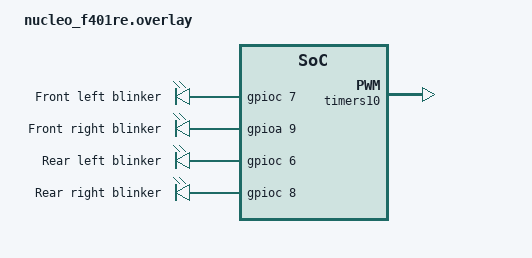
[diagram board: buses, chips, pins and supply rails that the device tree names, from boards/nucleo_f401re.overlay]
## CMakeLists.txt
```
cmake_minimum_required(VERSION 3.20.0)
find_package(Zephyr REQUIRED HINTS $ENV{ZEPHYR_BASE})
project(steering_blinker_app)

target_sources(app PRIVATE src/main.c)
```

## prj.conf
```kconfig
CONFIG_PWM=y
CONFIG_GPIO=y
CONFIG_SERIAL=y
CONFIG_FPU=y
```

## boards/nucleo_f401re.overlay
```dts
/*
 * steering_blinker_app - Nucleo-F401RE
 *
 * Servo:    TIM10_CH1 on PB8, 50 Hz, 1 MHz tick (prescaler 83)
 * Blinkers: FL PC7, FR PA9, RL PC6, RR PC8 (plain GPIO)
 */

/* I2C1 claims PB8/PB9 by default; not used here. */
&i2c1 {
    status = "disabled";
};

&timers10 {
    status = "okay";
    st,prescaler = <83>;

    pwm10: pwm {
        status = "okay";
        pinctrl-0 = <&tim10_ch1_pb8>;
        pinctrl-names = "default";
    };
};

/ {
    blinkers {
        compatible = "gpio-leds";

        blinker_fl: blinker_fl {
            gpios = <&gpioc 7 GPIO_ACTIVE_HIGH>;
            label = "Front left blinker";
        };

        blinker_fr: blinker_fr {
            gpios = <&gpioa 9 GPIO_ACTIVE_HIGH>;
            label = "Front right blinker";
        };

        blinker_rl: blinker_rl {
            gpios = <&gpioc 6 GPIO_ACTIVE_HIGH>;
            label = "Rear left blinker";
        };

        blinker_rr: blinker_rr {
            gpios = <&gpioc 8 GPIO_ACTIVE_HIGH>;
            label = "Rear right blinker";
        };
    };
};
```

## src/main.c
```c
/*
 * steering_blinker_app - steering servo + blinkers with self-cancel (Nucleo-F401RE)
 *
 * Bench test for:
 *   - turn signals that self-cancel when the wheel passes a turn threshold
 *     and returns back past it
 *   - one side cancelling the other
 *   - hazards turning on and off (cancelling back to the turn signal state)
 *
 * The steering value is simulated from the keyboard, in the same units the
 * Pi link will send (steer: -32768 full left .. 0 center .. 32767 full right).
 * The servo follows it, so you can see where the wheel "is".
 *
 * Serial keys (ST-LINK COM port, 115200):
 *   l / r    press the left / right signal button
 *            (pressing the active side again turns it off)
 *   h        toggle hazards (also: user button PC13)
 *   a / d    steer left / right by 5% of full lock
 *   A / D    steer left / right by 25% of full lock
 *   c        steering to center
 *   s        print current state
 *
 * Self-cancel rule, per side (shown for LEFT, RIGHT is mirrored):
 *   1. LEFT is active, not armed.
 *   2. Steering goes past -TURN_THRESHOLD         -> armed.
 *   3. Steering comes back above
 *      -(TURN_THRESHOLD - TURN_HYSTERESIS)        -> LEFT cancels.
 *   The hysteresis stops the signal from cancelling on noise when the
 *   wheel hovers right at the threshold. Pressing either side clears
 *   the armed flag, so a new signal must see its own turn before it
 *   can self-cancel.
 *
 * Hazards override the display but do not erase the turn state:
 * cancelling hazards returns to whatever turn signal was active.
 *
 * Blink timing is the same as blinker_app: a periodic 250 ms k_timer,
 * 1 Hz for turn signals, 2 Hz for hazards, 50% duty.
 */

#include <zephyr/kernel.h>
#include <zephyr/device.h>
#include <zephyr/drivers/pwm.h>
#include <zephyr/drivers/gpio.h>
#include <zephyr/drivers/uart.h>
#include <zephyr/sys/atomic.h>

/* ------------------------------------------------------------------ */
/* Hardware                                                           */
/* ------------------------------------------------------------------ */

static const struct gpio_dt_spec led_fl = GPIO_DT_SPEC_GET(DT_NODELABEL(blinker_fl), gpios);
static const struct gpio_dt_spec led_fr = GPIO_DT_SPEC_GET(DT_NODELABEL(blinker_fr), gpios);
static const struct gpio_dt_spec led_rl = GPIO_DT_SPEC_GET(DT_NODELABEL(blinker_rl), gpios);
static const struct gpio_dt_spec led_rr = GPIO_DT_SPEC_GET(DT_NODELABEL(blinker_rr), gpios);

static const struct device *servo_pwm = DEVICE_DT_GET(DT_NODELABEL(pwm10));
static const struct device *gpioc_dev = DEVICE_DT_GET(DT_NODELABEL(gpioc));
static const struct device *console   = DEVICE_DT_GET(DT_CHOSEN(zephyr_console));

#define SERVO_CHANNEL  1       /* TIM10_CH1 */
#define BUTTON_PIN     13      /* PC13, active low */

/* ------------------------------------------------------------------ */
/* Steering (wheel units)                                             */
/* ------------------------------------------------------------------ */

#define STEER_MIN          (-32768)
#define STEER_MAX          32767
#define STEER_STEP_FINE    1638    /* ~5% of full lock  */
#define STEER_STEP_COARSE  8192    /* 25% of full lock  */

#define TURN_THRESHOLD     8192    /* 25% of full lock: counts as "turning" */
#define TURN_HYSTERESIS    1638    /* must come back 5% past it to cancel   */

/* ------------------------------------------------------------------ */
/* Servo (paste your calibrated values from servo_app)                */
/* ------------------------------------------------------------------ */

#define SERVO_PERIOD_US    20000
#define SERVO_MIN_US       500
#define SERVO_MAX_US       2500
#define SERVO_RANGE_DEG    180.0f

#define SERVO_LEFT_DEG     72.0f    /* placeholder */
#define SERVO_CENTER_DEG   90.0f    /* placeholder */
#define SERVO_RIGHT_DEG    108.0f   /* placeholder */

#define SERVO_LO_DEG (SERVO_LEFT_DEG < SERVO_RIGHT_DEG ? SERVO_LEFT_DEG : SERVO_RIGHT_DEG)
#define SERVO_HI_DEG (SERVO_LEFT_DEG < SERVO_RIGHT_DEG ? SERVO_RIGHT_DEG : SERVO_LEFT_DEG)

/* ------------------------------------------------------------------ */
/* Timing                                                             */
/* ------------------------------------------------------------------ */

#define TICK_MS   250      /* blink timer: half-period of the 2 Hz hazard */
#define LOOP_MS   20       /* input + state machine loop */

/* ------------------------------------------------------------------ */
/* Servo                                                              */
/* ------------------------------------------------------------------ */

static float clampf(float x, float lo, float hi)
{
    return x < lo ? lo : (x > hi ? hi : x);
}

static float steer_to_servo_deg(int32_t steer)
{
    if (steer >= 0) {
        return SERVO_CENTER_DEG +
               (steer / 32767.0f) * (SERVO_RIGHT_DEG - SERVO_CENTER_DEG);
    }
    return SERVO_CENTER_DEG +
           (steer / 32768.0f) * (SERVO_CENTER_DEG - SERVO_LEFT_DEG);
}

static void servo_write_deg(float deg)
{
    deg = clampf(deg, SERVO_LO_DEG, SERVO_HI_DEG);
    float us = SERVO_MIN_US + deg * ((SERVO_MAX_US - SERVO_MIN_US) / SERVO_RANGE_DEG);
    pwm_set(servo_pwm, SERVO_CHANNEL,
            PWM_USEC(SERVO_PERIOD_US), PWM_USEC((uint32_t)(us + 0.5f)), 0);
}

/* ------------------------------------------------------------------ */
/* Blink output (same design as blinker_app)                          */
/* ------------------------------------------------------------------ */

enum blink_mode { MODE_OFF, MODE_LEFT, MODE_RIGHT, MODE_HAZARD, NUM_MODES };

static const char *const mode_names[NUM_MODES] = {
    "OFF", "LEFT", "RIGHT", "HAZARD"
};

static atomic_t display_mode = ATOMIC_INIT(MODE_OFF);  /* thread -> ISR */
static uint32_t ticks;

static void apply_outputs(enum blink_mode m, bool on)
{
    bool left  = on && (m == MODE_LEFT  || m == MODE_HAZARD);
    bool right = on && (m == MODE_RIGHT || m == MODE_HAZARD);

    gpio_pin_set_dt(&led_fl, left);
    gpio_pin_set_dt(&led_rl, left);
    gpio_pin_set_dt(&led_fr, right);
    gpio_pin_set_dt(&led_rr, right);
}

/* Interrupt context: read mode, write pins, nothing else. */
static void blink_tick(struct k_timer *timer)
{
    ARG_UNUSED(timer);

    enum blink_mode m = (enum blink_mode)atomic_get(&display_mode);
    ticks++;

    bool on = (m == MODE_HAZARD) ? ((ticks % 2) == 0)
                                 : (((ticks / 2) % 2) == 0);
    apply_outputs(m, on);
}

K_TIMER_DEFINE(blink_timer, blink_tick, NULL);

/* Change the displayed pattern. Only restarts the blink if it changed,
 * so an unchanged mode keeps its phase instead of restarting. */
static void set_display(enum blink_mode m)
{
    if ((enum blink_mode)atomic_get(&display_mode) == m) {
        return;
    }

    k_timer_stop(&blink_timer);
    atomic_set(&display_mode, m);
    ticks = 0;

    if (m == MODE_OFF) {
        apply_outputs(m, false);
    } else {
        apply_outputs(m, true);
        k_timer_start(&blink_timer, K_MSEC(TICK_MS), K_MSEC(TICK_MS));
    }

    printk("[%u ms] display -> %s\n", (uint32_t)k_uptime_get(), mode_names[m]);
}

/* ------------------------------------------------------------------ */
/* Turn signal state machine (thread context only)                    */
/* ------------------------------------------------------------------ */

enum turn_state { TURN_OFF, TURN_LEFT, TURN_RIGHT };

static const char *const turn_names[] = { "OFF", "LEFT", "RIGHT" };

static enum turn_state turn = TURN_OFF;
static bool turn_armed = false;     /* has the wheel passed the threshold yet? */
static bool hazard = false;
static int32_t steer = 0;

static void log_event(const char *what)
{
    printk("[%u ms] %s (turn=%s armed=%d hazard=%d steer=%d)\n",
           (uint32_t)k_uptime_get(), what, turn_names[turn],
           turn_armed, hazard, (int)steer);
}

static void press_left(void)
{
    turn = (turn == TURN_LEFT) ? TURN_OFF : TURN_LEFT;
    turn_armed = false;
    log_event("left pressed");
}

static void press_right(void)
{
    turn = (turn == TURN_RIGHT) ? TURN_OFF : TURN_RIGHT;
    turn_armed = false;
    log_event("right pressed");
}

static void toggle_hazard(void)
{
    hazard = !hazard;
    log_event(hazard ? "hazards on" : "hazards cancelled");
}

static void update_self_cancel(void)
{
    if (turn == TURN_LEFT) {
        if (!turn_armed && steer <= -TURN_THRESHOLD) {
            turn_armed = true;
            log_event("left armed: turned past threshold");
        } else if (turn_armed && steer > -(TURN_THRESHOLD - TURN_HYSTERESIS)) {
            turn = TURN_OFF;
            turn_armed = false;
            log_event("left self-cancelled: returned past threshold");
        }
    } else if (turn == TURN_RIGHT) {
        if (!turn_armed && steer >= TURN_THRESHOLD) {
            turn_armed = true;
            log_event("right armed: turned past threshold");
        } else if (turn_armed && steer < (TURN_THRESHOLD - TURN_HYSTERESIS)) {
            turn = TURN_OFF;
            turn_armed = false;
            log_event("right self-cancelled: returned past threshold");
        }
    }
}

static enum blink_mode desired_display(void)
{
    if (hazard) {
        return MODE_HAZARD;             /* hazards override turn signals */
    }
    switch (turn) {
    case TURN_LEFT:  return MODE_LEFT;
    case TURN_RIGHT: return MODE_RIGHT;
    default:         return MODE_OFF;
    }
}

static void steer_by(int32_t delta)
{
    steer += delta;
    if (steer < STEER_MIN) { steer = STEER_MIN; }
    if (steer > STEER_MAX) { steer = STEER_MAX; }
    printk("steer = %d (%d%% of full lock)\n", (int)steer,
           (int)((steer * 100) / (steer >= 0 ? STEER_MAX : -STEER_MIN)));
}

/* ------------------------------------------------------------------ */
/* Main                                                               */
/* ------------------------------------------------------------------ */

static bool led_ready(const struct gpio_dt_spec *led)
{
    if (!gpio_is_ready_dt(led)) {
        return false;
    }
    gpio_pin_configure_dt(led, GPIO_OUTPUT_INACTIVE);
    return true;
}

int main(void)
{
    if (!led_ready(&led_fl) || !led_ready(&led_fr) ||
        !led_ready(&led_rl) || !led_ready(&led_rr) ||
        !device_is_ready(servo_pwm) || !device_is_ready(gpioc_dev) ||
        !device_is_ready(console)) {
        printk("ERROR: device not ready\n");
        return 0;
    }

    gpio_pin_configure(gpioc_dev, BUTTON_PIN, GPIO_INPUT);
    servo_write_deg(steer_to_servo_deg(steer));

    printk("steering_blinker_app ready\n");
    printk("keys: l r signals | h hazard | a/d A/D steer | c center | s status\n");
    printk("turn threshold = %d (%d%% of full lock), hysteresis = %d\n",
           TURN_THRESHOLD, (TURN_THRESHOLD * 100) / STEER_MAX, TURN_HYSTERESIS);

    bool prev_pressed = false;

    while (1) {
        /* Keys */
        unsigned char c;
        if (uart_poll_in(console, &c) == 0) {
            switch (c) {
            case 'l': press_left();                  break;
            case 'r': press_right();                 break;
            case 'h': toggle_hazard();               break;
            case 'a': steer_by(-STEER_STEP_FINE);    break;
            case 'd': steer_by(+STEER_STEP_FINE);    break;
            case 'A': steer_by(-STEER_STEP_COARSE);  break;
            case 'D': steer_by(+STEER_STEP_COARSE);  break;
            case 'c': steer = 0; printk("steer = 0 (center)\n"); break;
            case 's': log_event("status");           break;
            default: break;
            }
        }

        /* Button: toggle hazards (stands in for the self-test button) */
        bool pressed = (gpio_pin_get(gpioc_dev, BUTTON_PIN) == 0);
        if (pressed && !prev_pressed) {
            toggle_hazard();
        }
        prev_pressed = pressed;

        /* State machine, then outputs */
        update_self_cancel();
        set_display(desired_display());
        servo_write_deg(steer_to_servo_deg(steer));

        k_msleep(LOOP_MS);
    }

    return 0;
}
```
